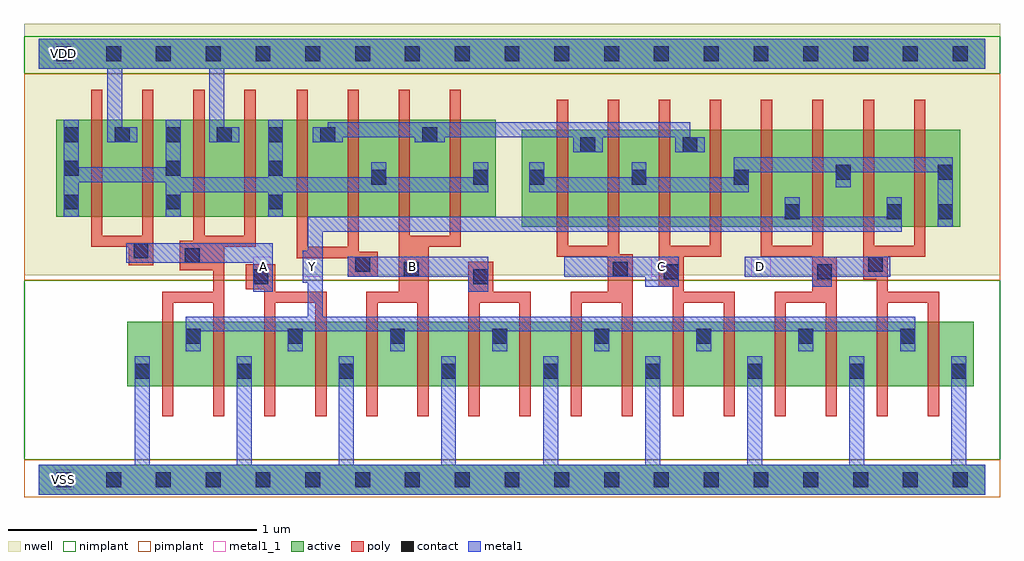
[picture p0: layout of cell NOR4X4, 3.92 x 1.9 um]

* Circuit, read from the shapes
.subckt NOR4X4 A B C D VDD VSS Y
M1 Y A VSS VSS nfet w=0.26u l=0.045u m=4
M2 Y B VSS VSS nfet w=0.26u l=0.045u m=4
M3 Y C VSS VSS nfet w=0.26u l=0.045u m=4
M4 Y D VSS VSS nfet w=0.26u l=0.045u m=4
M5 VDD A n1 VDD pfet w=0.39u l=0.045u m=4
M6 n2 B n1 VDD pfet w=0.39u l=0.045u m=4
M7 n2 C n3 VDD pfet w=0.39u l=0.045u m=4
M8 Y D n3 VDD pfet w=0.39u l=0.045u m=4
.ends

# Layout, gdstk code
import gdstk
lib = gdstk.Library(unit=1e-6, precision=5e-10)
def R(c, l, rs):  # rectangles x0, y0, x1, y1
    for r in rs: c.add(gdstk.rectangle(r[:2], r[2:], *l))
def A(c, l, x, y, w, h, nx, ny, dx, dy):  # array of equal rectangles
    R(c, l, [(x+i*dx, y+j*dy, x+i*dx+w, y+j*dy+h) for i in range(nx) for j in range(ny)])
def P(c, l, *ps):  # polygons
    for p in ps: c.add(gdstk.Polygon(p, *l))
active = (1, 0)
nwell = (2, 0)
poly = (3, 0)
nimplant = (4, 0)
pimplant = (5, 0)
contact = (6, 0)
metal1 = (7, 0)
metal1_1 = (7, 1)

nor4x4 = lib.new_cell('NOR4X4')
R(nor4x4, active, [(0,-0.06,3.8,0.06), (0.355,0.375,3.755,0.635), (1.94,1.015,3.7,1.405), (0.07,1.055,1.835,1.445), (0,1.65,3.8,1.77)])
R(nor4x4, nwell, [(-0.06,0.82,3.86,1.83)])
P(nor4x4, poly, [(0.21,1.565),(0.255,1.565),(0.255,0.98),(0.415,0.98),(0.415,1.565),(0.46,1.565),(0.46,0.86),(0.36,0.86),(0.36,0.935),(0.21,0.935)],
  [(0.62,1.565),(0.665,1.565),(0.665,0.98),(0.825,0.98),(0.825,1.565),(0.87,1.565),(0.87,0.935),(0.745,0.935),(0.745,0.255),(0.7,0.255),(0.7,0.71),(0.54,0.71),(0.54,0.255),(0.495,0.255),(0.495,0.755),(0.7,0.755),(0.7,0.84),(0.565,0.84),(0.565,0.96),(0.62,0.96)],
  [(1.035,1.565),(1.08,1.565),(1.08,0.935),(1.24,0.935),(1.24,1.565),(1.285,1.565),(1.285,0.915),(1.36,0.915),(1.36,0.815),(1.24,0.815),(1.24,0.89),(1.035,0.89)],
  [(1.445,1.565),(1.49,1.565),(1.49,0.98),(1.65,0.98),(1.65,1.565),(1.695,1.565),(1.695,0.935),(1.565,0.935),(1.565,0.255),(1.52,0.255),(1.52,0.71),(1.36,0.71),(1.36,0.255),(1.315,0.255),(1.315,0.755),(1.445,0.755)],
  [(2.08,1.525),(2.125,1.525),(2.125,0.94),(2.285,0.94),(2.285,1.525),(2.33,1.525),(2.33,0.905),(2.385,0.905),(2.385,0.255),(2.34,0.255),(2.34,0.71),(2.18,0.71),(2.18,0.255),(2.135,0.255),(2.135,0.755),(2.285,0.755),(2.285,0.895),(2.08,0.895)],
  [(2.49,1.525),(2.535,1.525),(2.535,0.94),(2.695,0.94),(2.695,1.525),(2.74,1.525),(2.74,0.895),(2.59,0.895),(2.59,0.755),(2.795,0.755),(2.795,0.255),(2.75,0.255),(2.75,0.71),(2.59,0.71),(2.59,0.255),(2.545,0.255),(2.545,0.775),(2.49,0.775)],
  [(2.9,1.525),(2.945,1.525),(2.945,0.94),(3.105,0.94),(3.105,1.525),(3.15,1.525),(3.15,0.895),(3.205,0.895),(3.205,0.255),(3.16,0.255),(3.16,0.71),(3,0.71),(3,0.255),(2.955,0.255),(2.955,0.755),(3.105,0.755),(3.105,0.895),(2.9,0.895)],
  [(3.31,1.525),(3.355,1.525),(3.355,0.94),(3.515,0.94),(3.515,1.525),(3.56,1.525),(3.56,0.895),(3.41,0.895),(3.41,0.755),(3.615,0.755),(3.615,0.255),(3.57,0.255),(3.57,0.71),(3.41,0.71),(3.41,0.255),(3.365,0.255),(3.365,0.805),(3.31,0.805)],
  [(1.725,0.875),(1.825,0.875),(1.825,0.755),(1.975,0.755),(1.975,0.255),(1.93,0.255),(1.93,0.71),(1.77,0.71),(1.77,0.255),(1.725,0.255)],
  [(0.83,0.865),(0.95,0.865),(0.95,0.755),(1.155,0.755),(1.155,0.255),(1.11,0.255),(1.11,0.71),(0.95,0.71),(0.95,0.255),(0.905,0.255),(0.905,0.765),(0.83,0.765)])
R(nor4x4, nimplant, [(-0.06,0.08,3.86,0.8), (-0.06,1.63,3.86,1.78)])
R(nor4x4, pimplant, [(-0.06,-0.07,3.86,0.08), (-0.06,0.8,3.86,1.63)])
A(nor4x4, contact, 0.07, -0.03, 0.06, 0.06, 19, 2, 0.2, 1.71)
A(nor4x4, contact, 0.385, 0.405, 0.06, 0.06, 9, 1, 0.41, 0)
A(nor4x4, contact, 0.59, 0.545, 0.06, 0.06, 8, 1, 0.41, 0)
A(nor4x4, contact, 0.1, 1.085, 0.06, 0.06, 3, 2, 0.41, 0.135)
A(nor4x4, contact, 1.97, 1.185, 0.06, 0.06, 3, 1, 0.41, 0)
A(nor4x4, contact, 0.1, 1.355, 0.06, 0.06, 5, 1, 0.205, 0)
R(nor4x4, contact, [(0.86,0.785,0.92,0.845), (1.745,0.785,1.805,0.845), (2.51,0.805,2.57,0.865), (3.125,0.805,3.185,0.865), (1.465,0.815,1.525,0.875), (2.305,0.815,2.365,0.875), (1.27,0.835,1.33,0.895), (3.33,0.835,3.39,0.895), (0.585,0.87,0.645,0.93), (0.38,0.89,0.44,0.95), (2.995,1.045,3.055,1.105), (3.405,1.045,3.465,1.105), (3.61,1.045,3.67,1.105), (1.335,1.185,1.395,1.245), (1.745,1.185,1.805,1.245), (3.2,1.205,3.26,1.265), (3.61,1.205,3.67,1.265), (2.175,1.315,2.235,1.375), (2.585,1.315,2.645,1.375), (1.13,1.355,1.19,1.415), (1.54,1.355,1.6,1.415)])
P(nor4x4, metal1, [(0,1.77),(3.8,1.77),(3.8,1.65),(0.745,1.65),(0.745,1.415),(0.805,1.415),(0.805,1.355),(0.685,1.355),(0.685,1.65),(0.335,1.65),(0.335,1.415),(0.395,1.415),(0.395,1.355),(0.275,1.355),(0.275,1.65),(0,1.65)],
  [(0.1,1.445),(0.16,1.445),(0.16,1.255),(0.51,1.255),(0.51,1.445),(0.57,1.445),(0.57,1.215),(0.92,1.215),(0.92,1.445),(0.98,1.445),(0.98,1.215),(1.335,1.215),(1.335,1.275),(1.395,1.275),(1.395,1.215),(1.745,1.215),(1.745,1.275),(1.805,1.275),(1.805,1.155),(0.98,1.155),(0.98,1.055),(0.92,1.055),(0.92,1.155),(0.57,1.155),(0.57,1.055),(0.51,1.055),(0.51,1.195),(0.16,1.195),(0.16,1.055),(0.1,1.055)],
  [(1.16,1.435),(2.615,1.435),(2.615,1.375),(2.675,1.375),(2.675,1.315),(2.555,1.315),(2.555,1.375),(2.265,1.375),(2.265,1.315),(2.145,1.315),(2.145,1.375),(1.63,1.375),(1.63,1.355),(1.51,1.355),(1.51,1.375),(1.22,1.375),(1.22,1.355),(1.1,1.355),(1.1,1.415),(1.16,1.415)],
  [(1.97,1.275),(2.03,1.275),(2.03,1.215),(2.38,1.215),(2.38,1.275),(2.44,1.275),(2.44,1.215),(2.79,1.215),(2.79,1.295),(3.67,1.295),(3.67,1.015),(3.61,1.015),(3.61,1.235),(3.26,1.235),(3.26,1.175),(3.2,1.175),(3.2,1.235),(2.85,1.235),(2.85,1.155),(1.97,1.155)],
  [(2.995,1.135),(3.055,1.135),(3.055,1.055),(3.405,1.055),(3.405,1.135),(3.465,1.135),(3.465,0.995),(1.14,0.995),(1.14,0.655),(3.52,0.655),(3.52,0.515),(3.46,0.515),(3.46,0.595),(3.11,0.595),(3.11,0.515),(3.05,0.515),(3.05,0.595),(2.7,0.595),(2.7,0.515),(2.64,0.515),(2.64,0.595),(2.29,0.595),(2.29,0.515),(2.23,0.515),(2.23,0.595),(1.88,0.595),(1.88,0.515),(1.82,0.515),(1.82,0.595),(1.47,0.595),(1.47,0.515),(1.41,0.515),(1.41,0.595),(1.06,0.595),(1.06,0.515),(1,0.515),(1,0.595),(0.65,0.595),(0.65,0.515),(0.59,0.515),(0.59,0.655),(1.08,0.655),(1.08,0.79),(1.06,0.79),(1.06,0.92),(1.08,0.92),(1.08,1.055),(2.995,1.055)],
  [(0.35,0.95),(0.94,0.95),(0.94,0.755),(0.86,0.755),(0.86,0.87),(0.35,0.87)],
  [(1.24,0.895),(1.805,0.895),(1.805,0.755),(1.725,0.755),(1.725,0.815),(1.24,0.815)],
  [(2.11,0.895),(2.57,0.895),(2.57,0.775),(2.435,0.775),(2.435,0.815),(2.11,0.815)],
  [(2.835,0.895),(3.42,0.895),(3.42,0.815),(3.185,0.815),(3.185,0.775),(3.105,0.775),(3.105,0.815),(2.835,0.815)],
  [(0.385,0.495),(0.445,0.495),(0.445,0.06),(0.795,0.06),(0.795,0.495),(0.855,0.495),(0.855,0.06),(1.205,0.06),(1.205,0.495),(1.265,0.495),(1.265,0.06),(1.615,0.06),(1.615,0.495),(1.675,0.495),(1.675,0.06),(2.025,0.06),(2.025,0.495),(2.085,0.495),(2.085,0.06),(2.435,0.06),(2.435,0.495),(2.495,0.495),(2.495,0.06),(2.845,0.06),(2.845,0.495),(2.905,0.495),(2.905,0.06),(3.255,0.06),(3.255,0.495),(3.315,0.495),(3.315,0.06),(3.665,0.06),(3.665,0.495),(3.725,0.495),(3.725,0.06),(3.8,0.06),(3.8,-0.06),(0,-0.06),(0,0.06),(0.385,0.06)])
R(nor4x4, metal1_1, [(0.06,-0.04,0.14,0.04), (0.86,0.815,0.94,0.895), (1.06,0.815,1.14,0.895), (1.46,0.815,1.54,0.895), (2.46,0.815,2.54,0.895), (2.86,0.815,2.94,0.895), (0.06,1.67,0.14,1.75)])
nor4x4.add(gdstk.Label('Y', (1.1,0.855), layer=7, texttype=1))
nor4x4.add(gdstk.Label('A', (0.9,0.855), layer=7, texttype=1))
nor4x4.add(gdstk.Label('B', (1.5,0.855), layer=7, texttype=1))
nor4x4.add(gdstk.Label('C', (2.5,0.855), layer=7, texttype=1))
nor4x4.add(gdstk.Label('D', (2.9,0.855), layer=7, texttype=1))
nor4x4.add(gdstk.Label('VDD', (0.1,1.71), layer=7, texttype=1))
nor4x4.add(gdstk.Label('VSS', (0.1,0), layer=7, texttype=1))
nor4x4.add(gdstk.Label('NOR4X4', (0,0), layer=63, texttype=0))

lib.write_gds('NOR4X4.gds')
